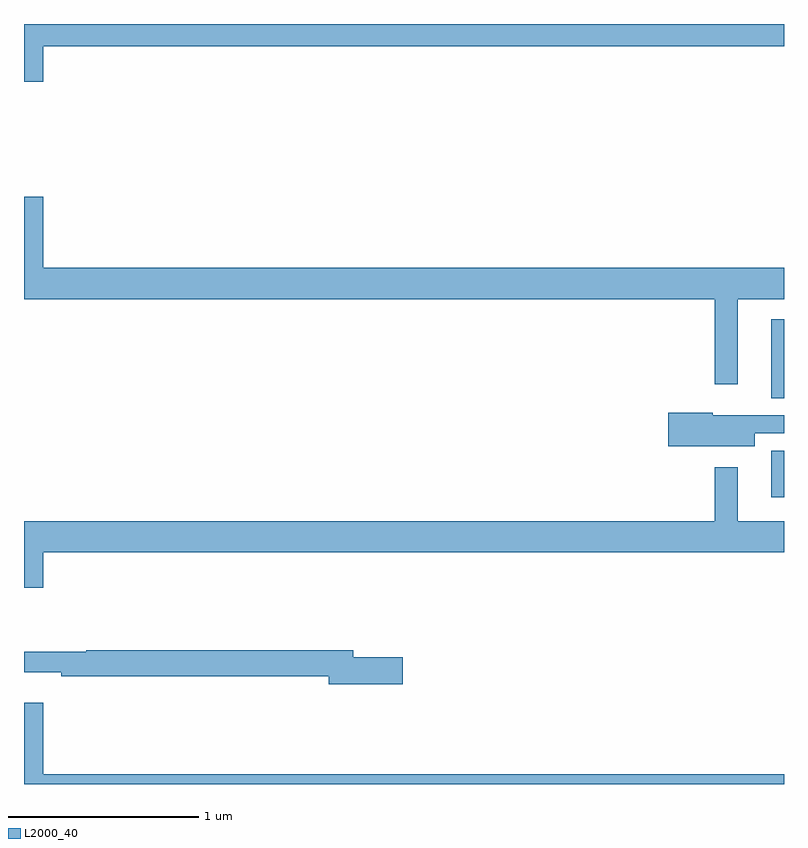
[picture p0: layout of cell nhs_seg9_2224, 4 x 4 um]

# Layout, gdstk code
import gdstk
lib = gdstk.Library(unit=1e-6, precision=1e-09)
def R(c, l, rs):  # rectangles x0, y0, x1, y1
    for r in rs: c.add(gdstk.rectangle(r[:2], r[2:], *l))
def P(c, l, *ps):  # polygons
    for p in ps: c.add(gdstk.Polygon(p, *l))
L2000_40 = (2000, 40)

nhs_seg9_2224 = lib.new_cell('nhs_seg9_2224')
R(nhs_seg9_2224, L2000_40, [(240.932,1230.009,241,1230.255), (240.932,1230.53,241,1230.946)])
P(nhs_seg9_2224, L2000_40, [(237.1,1232.384),(241,1232.384),(241,1232.5),(237,1232.5),(237,1232.196),(237.1,1232.196)],
  [(240.757,1231.052),(241,1231.052),(241,1231.216),(237.1,1231.216),(237.1,1231.591),(237,1231.591),(237,1231.052),(240.636,1231.052),(240.636,1230.603),(240.757,1230.603)],
  [(240.847,1230.345),(241,1230.345),(241,1230.441),(240.843,1230.441),(240.843,1230.442),(240.624,1230.442),(240.624,1230.455),(240.39,1230.455),(240.39,1230.277),(240.847,1230.277)],
  [(237.1,1229.72),(241,1229.72),(241,1229.884),(240.757,1229.884),(240.757,1230.166),(240.636,1230.166),(240.636,1229.884),(237,1229.884),(237,1229.532),(237.1,1229.532)],
  [(238.993,1229.168),(238.732,1229.168),(238.732,1229.204),(237.328,1229.204),(237.328,1229.197),(237,1229.197),(237,1229.087),(237.196,1229.087),(237.196,1229.068),(238.604,1229.068),(238.604,1229.026),(238.993,1229.026)],
  [(241,1228.552),(237.1,1228.552),(237.1,1228.927),(237,1228.927),(237,1228.5),(241,1228.5)])

lib.write_gds('nhs_seg9_2224.gds')
